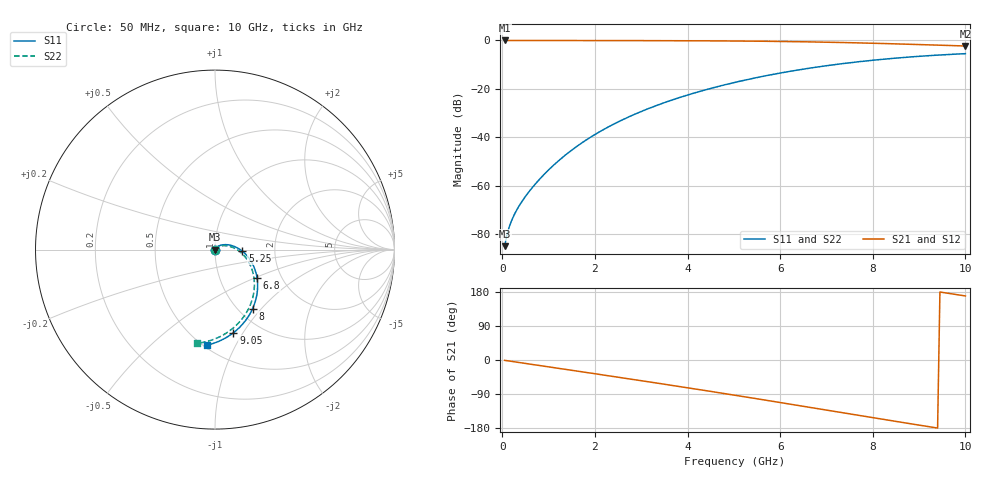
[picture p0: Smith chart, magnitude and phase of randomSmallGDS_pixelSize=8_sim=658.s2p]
! freq	dB(S11)	phase(S11)	dB(S12)	phase(S12)
!  dB(S21)	phase(S21)	dB(S22)	phase(S22)
!S-par simulation data
#  GHz  S  DB  R 50
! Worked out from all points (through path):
!   200 points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, 50 MHz to 10 GHz, reference 50 ohm
!   highest |S21| = 0.00 dB at 50 MHz (marker M1); lowest = -2.3 dB at 10 GHz (marker M2)
!   group delay of S21, straight-line fit = 53.4 ps
!   lowest |S11| = -84.8 dB at 50 MHz (marker M3), VSWR 1.00, Z = 50 + j0.00449 ohm
!   |S11| at or under -10 dB: start of sweep to 7.164 GHz
!   |S22| runs from -84.7 to -5.5 dB; largest |S21 - S12| = 0
!   S11 on the Smith chart (normalised r, x): 50 MHz: 1.00, +0.00; 5.25 GHz: 1.36, -0.03; 6.8 GHz: 1.50, -0.52; 8 GHz: 1.15, -0.90; 9.05 GHz: 0.76, -0.91; 10 GHz: 0.52, -0.77
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0.05  -84.83 51.6  -0.00 -0.9  -0.00 -0.9  -84.66 51.1
0.1  -80.23 68.8  -0.00 -1.8  -0.00 -1.8  -80.00 66.7
0.15  -76.90 76.1  -0.00 -2.7  -0.00 -2.7  -76.67 72.5
0.2  -74.32 80.0  -0.00 -3.7  -0.00 -3.7  -74.11 75.1
0.35  -68.64 85.1  -0.01 -6.4  -0.01 -6.4  -68.52 77.0
0.5  -64.32 86.3  -0.01 -9.1  -0.01 -9.1  -64.31 76.2
0.7  -59.49 85.3  -0.02 -12.7  -0.02 -12.7  -59.59 74.0
1.2  -49.87 77.5  -0.03 -21.7  -0.03 -21.7  -50.04 66.8
1.75  -41.83 66.5  -0.04 -31.7  -0.04 -31.7  -41.96 57.5
2.5  -33.61 51.1  -0.05 -45.4  -0.05 -45.4  -33.70 43.9
3.4  -26.33 33.0  -0.08 -62.0  -0.08 -62.0  -26.39 27.0
4.25  -21.10 16.3  -0.14 -78.1  -0.14 -78.1  -21.15 10.9
5.05  -17.17 0.5  -0.23 -93.5  -0.23 -93.5  -17.21 -4.5
5.25  -16.31 -3.4  -0.26 -97.4  -0.26 -97.4  -16.35 -8.4
5.95  -13.62 -17.3  -0.39 -111.2  -0.39 -111.2  -13.66 -22.1
6.7  -11.24 -32.1  -0.61 -126.2  -0.61 -126.2  -11.28 -37.0
6.8  -10.96 -34.1  -0.64 -128.2  -0.64 -128.2  -11.00 -39.0
7.4  -9.43 -46.0  -0.87 -140.2  -0.87 -140.2  -9.48 -50.9
8  -8.16 -57.6  -1.15 -152.2  -1.15 -152.2  -8.21 -62.7
8.35  -7.53 -64.4  -1.33 -159.1  -1.33 -159.1  -7.58 -69.5
9.05  -6.47 -77.5  -1.72 -172.8  -1.72 -172.8  -6.53 -82.9
10  -5.44 -94.8  -2.29 169.0  -2.29 169.0  -5.50 -100.6
